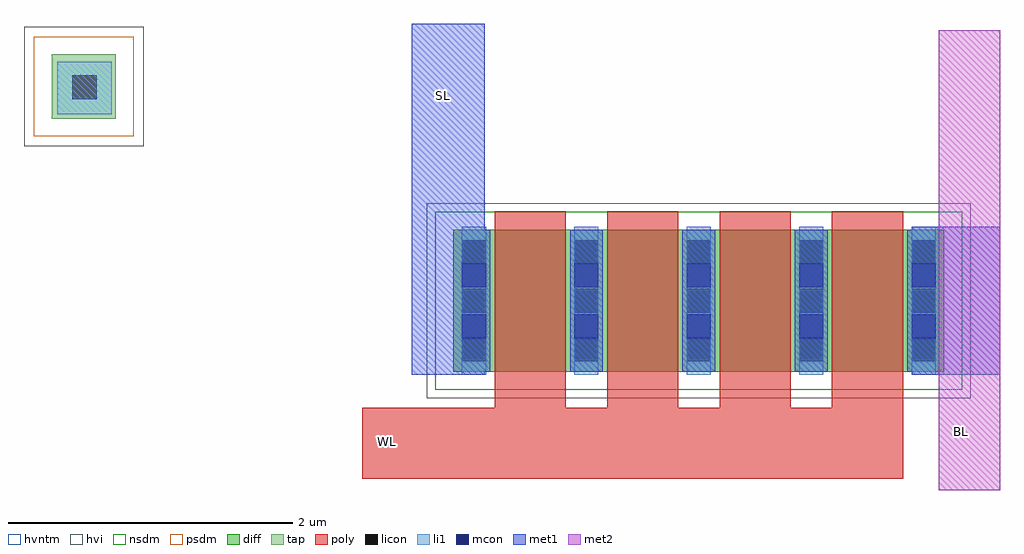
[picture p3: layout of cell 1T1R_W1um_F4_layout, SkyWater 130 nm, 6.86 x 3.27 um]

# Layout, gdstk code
import gdstk
lib = gdstk.Library(unit=1e-6, precision=1e-09)
def R(c, l, rs):  # rectangles x0, y0, x1, y1
    for r in rs: c.add(gdstk.rectangle(r[:2], r[2:], *l))
def A(c, l, x, y, w, h, nx, ny, dx, dy):  # array of equal rectangles
    R(c, l, [(x+i*dx, y+j*dy, x+i*dx+w, y+j*dy+h) for i in range(nx) for j in range(ny)])
diff = (65, 20)
tap = (65, 44)
poly = (66, 20)
licon = (66, 44)
li1 = (67, 20)
mcon = (67, 44)
met1 = (68, 20)
met2 = (69, 20)
hvi = (75, 20)
nsdm = (93, 44)
psdm = (94, 20)
hvntm = (125, 20)

sky130_fd_pr__nfet_g5v0d = lib.new_cell('sky130_fd_pr__nfet_g5v0d10v5_27DT82')
R(sky130_fd_pr__nfet_g5v0d, diff, [(-1.725,-0.5,1.725,0.5)])
A(sky130_fd_pr__nfet_g5v0d, poly, -1.435, -0.63, 0.5, 1.26, 4, 1, 0.79, 0)
A(sky130_fd_pr__nfet_g5v0d, licon, -1.665, -0.425, 0.17, 0.17, 5, 3, 0.79, 0.34)
A(sky130_fd_pr__nfet_g5v0d, li1, -1.665, -0.52, 0.17, 1.04, 5, 1, 0.79, 0)
A(sky130_fd_pr__nfet_g5v0d, mcon, -1.665, -0.265, 0.17, 0.17, 5, 2, 0.79, 0.36)
A(sky130_fd_pr__nfet_g5v0d, met1, -1.695, -0.5, 0.23, 1, 5, 1, 0.79, 0)
R(sky130_fd_pr__nfet_g5v0d, hvi, [(-1.91,-0.685,1.91,0.685)])
R(sky130_fd_pr__nfet_g5v0d, nsdm, [(-1.85,-0.625,1.85,0.625)])
R(sky130_fd_pr__nfet_g5v0d, hvntm, [(-1.91,-0.685,1.91,0.685)])

c_1t1r_w1um_f4_layout = lib.new_cell('1T1R_W1um_F4_layout')
R(c_1t1r_w1um_f4_layout, tap, [(-2.83,1.98,-2.38,2.43)])
R(c_1t1r_w1um_f4_layout, poly, [(-0.65,-0.55,3.15,-0.05), (0.28,-0.05,0.78,0.2), (1.07,-0.05,1.57,0.2), (1.86,-0.05,2.36,0.19), (2.65,-0.05,3.15,0.2)])
R(c_1t1r_w1um_f4_layout, licon, [(-2.685,2.115,-2.515,2.285)])
R(c_1t1r_w1um_f4_layout, li1, [(-2.79,2.01,-2.41,2.38)])
R(c_1t1r_w1um_f4_layout, met1, [(-0.3,0.18,0.21,2.645), (3.21,0.18,3.83,1.22)])
R(c_1t1r_w1um_f4_layout, met2, [(3.4,-0.63,3.83,2.6)])
R(c_1t1r_w1um_f4_layout, hvi, [(-3.025,1.785,-2.185,2.625)])
R(c_1t1r_w1um_f4_layout, psdm, [(-2.955,1.855,-2.255,2.555)])
c_1t1r_w1um_f4_layout.add(gdstk.Reference(sky130_fd_pr__nfet_g5v0d, (1.715,0.7)))
c_1t1r_w1um_f4_layout.add(gdstk.Label('SL', (-0.08,2.14), layer=68, texttype=16))
c_1t1r_w1um_f4_layout.add(gdstk.Label('BL', (3.56,-0.22), layer=69, texttype=16))
c_1t1r_w1um_f4_layout.add(gdstk.Label('WL', (-0.47,-0.29), layer=66, texttype=16))

lib.write_gds('1T1R_W1um_F4_layout.gds')
